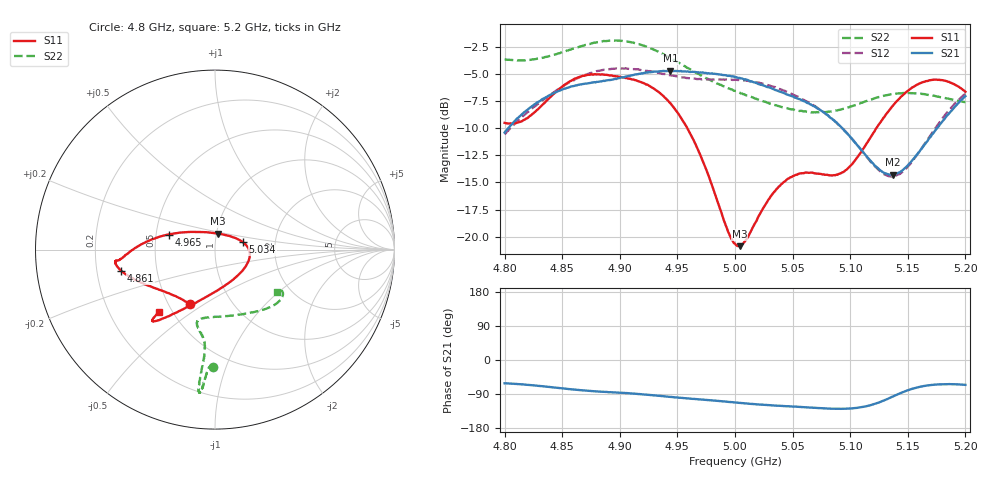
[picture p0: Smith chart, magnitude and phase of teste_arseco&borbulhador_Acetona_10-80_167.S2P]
! Network Analyzer HP8722D
! Hewlett-Packard
! Data name: Linha & Wilkinson
! Saver's name: Rodrigo Anjos
! Comments: Teste da utilização de aquisição
! continua pelo VNA HP8722D
! Time and date: 17/4/2025 15:45
!  Frequency  S11  S21  S12  S22
# HZ  S  MA R 50
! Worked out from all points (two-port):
!   401 points, 4.8 GHz to 5.2 GHz, reference 50 ohm
!   highest |S21| = -4.70 dB at 4.944 GHz (marker M1); lowest = -14.3 dB at 5.137 GHz (marker M2)
!   |S21| within 3 dB of the highest: 4.827 GHz to 5.064 GHz (236.2 MHz wide, 4.78 % of centre); 5.193672 GHz to end of sweep
!   lowest |S11| = -20.9 dB at 5.004 GHz (marker M3), VSWR 1.20, Z = 51 + j9.12 ohm
!   |S11| at or under -10 dB: 4.959 GHz to 5.123 GHz (164 MHz wide, 3.25 % of centre)
!   |S22| runs from -8.5 to -1.9 dB; largest |S21 - S12| = 0.87
!   S11 on the Smith chart (normalised r, x): 4.8 GHz: 0.64, -0.44; 4.861 GHz: 0.31, -0.10; 4.965 GHz: 0.58, +0.11; 5.034 GHz: 1.36, +0.12; 5.2 GHz: 0.43, -0.38
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4.8e9  0.3349 -115.0  0.3023 -61.5  0.2964 -175.9  0.6568 -90.8
4.819e9  0.351 -135.2  0.3814 -65.3  0.3709 -174.9  0.6522 -92.3
4.861e9  0.5354 -167.1  0.4965 -78.3  0.5308 -178.2  0.7383 -94.7
4.867e9  0.549 -169.5  0.5045 -79.9  0.5483 -179.3  0.7563 -94.8
4.899e9  0.5459 -173.7  0.538 -86.3  0.5966 174.3  0.8 -96.3
4.934e9  0.4632 -179.6  0.5779 -94.6  0.5708 170.9  0.7084 -96.6
4.944e9  0.4118 175.9  0.5821 -97.4  0.5543 171.0  0.6668 -96.3
4.965e9  0.272 162.0  0.5749 -103.0  0.5353 172.9  0.5742 -95.7
4.994e9  0.1054 114.4  0.5513 -110.3  0.5296 175.1  0.4829 -98.4
5e9  0.09279 93.8  0.5436 -112.0  0.5289 175.2  0.4698 -99.8
5.004e9  0.09047 78.4  0.5397 -113.2  0.5263 175.3  0.4615 -100.7
5.034e9  0.1607 15.0  0.4777 -120.1  0.4899 173.8  0.405 -103.5
5.05e9  0.1898 -0.7  0.4434 -122.9  0.4537 173.2  0.3866 -99.0
5.067e9  0.1974 -19.0  0.403 -125.7  0.4074 173.0  0.3746 -89.5
5.085e9  0.192 -47.5  0.3466 -128.5  0.3465 173.1  0.3803 -75.8
5.096e9  0.2027 -69.5  0.3046 -128.6  0.305 174.5  0.3911 -66.9
5.121e9  0.3056 -108.5  0.2135 -116.4  0.2122 -171.1  0.4342 -49.7
5.134e9  0.3831 -119.0  0.1933 -100.5  0.1898 -153.5  0.4517 -43.1
5.137e9  0.4012 -120.7  0.1929 -96.4  0.1898 -148.6  0.4548 -41.8
5.15e9  0.4701 -126.2  0.2131 -79.9  0.2103 -129.7  0.4595 -37.1
5.17e9  0.5267 -130.7  0.2895 -66.1  0.2954 -112.3  0.4489 -32.5
5.2e9  0.4654 -132.0  0.4447 -65.6  0.4563 -107.7  0.4165 -34.2
